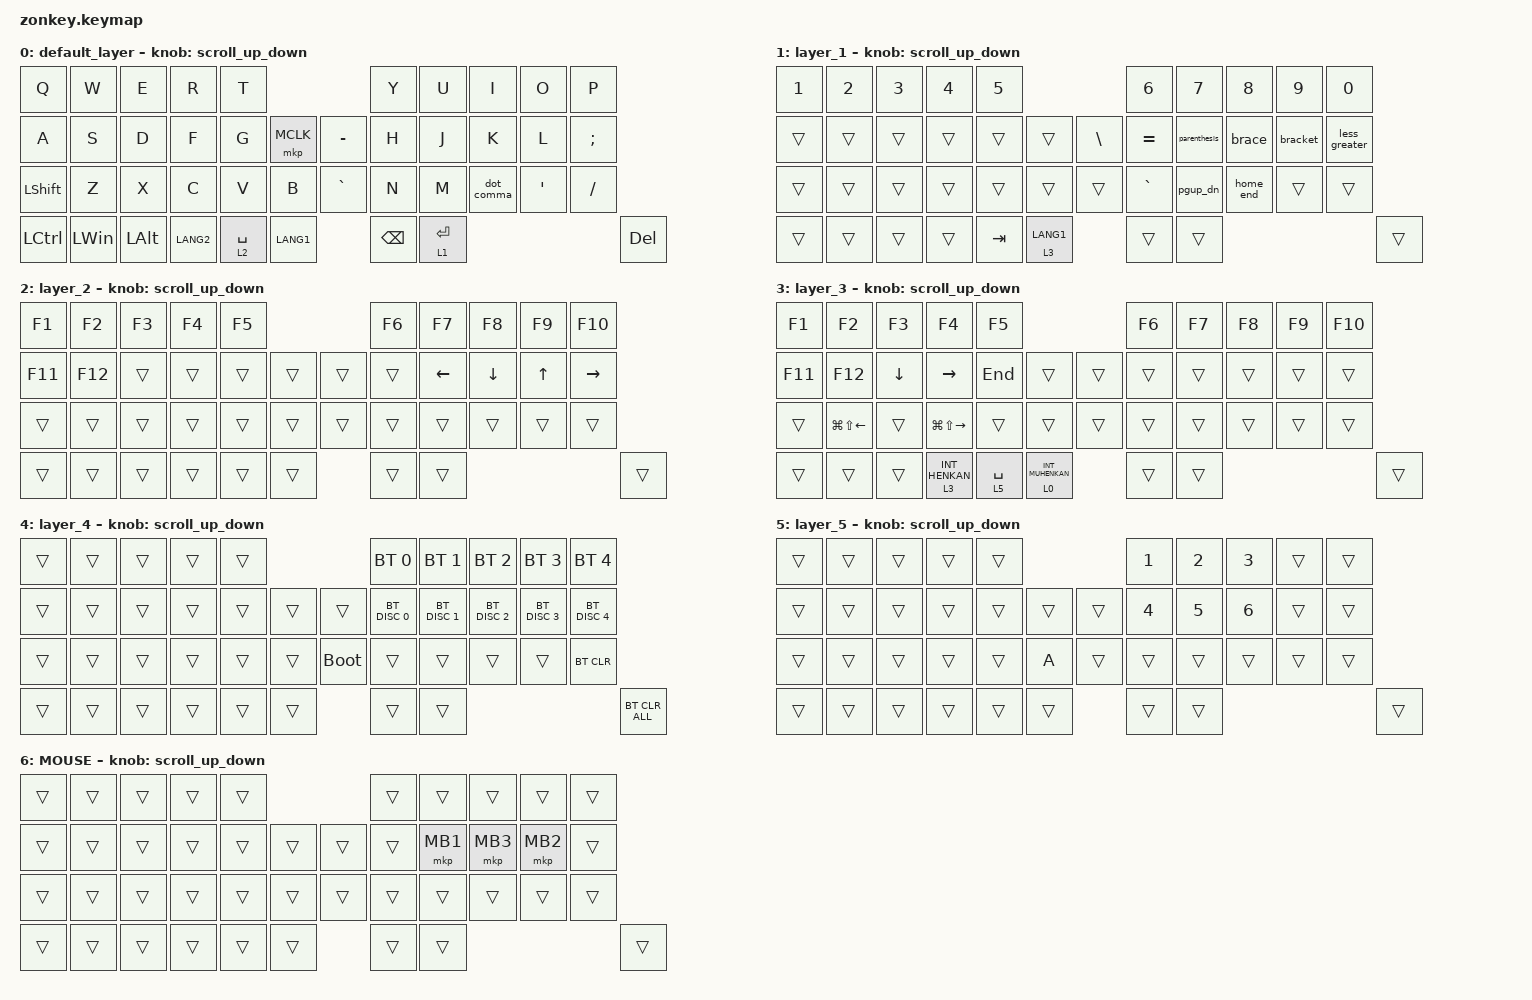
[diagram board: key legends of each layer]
#include <physical_layouts.dtsi>
#include <behaviors.dtsi>
#include <dt-bindings/zmk/bt.h>
#include <dt-bindings/zmk/keys.h>
#include <dt-bindings/zmk/pointing.h>

#define ZMK_POINTING_DEFAULT_SCRL_VAL 100
#define DFb 0
#define JIS 1
#define BT 4
#define MOUSE 5
#define JP_DQUOTE       AT                // "
#define JP_AMPERSAND    CARET             // &
#define JP_QUOTE        AMPERSAND         // '
#define JP_EQUAL        UNDER             // =
#define JP_CARET        EQUAL             // ^
#define JP_YEN          0x89              // ¥
#define JP_PLUS         COLON             // +
#define JP_TILDE        PLUS              // ~
#define JP_PIPE         LS(0x89)          // |
#define JP_AT           LEFT_BRACKET      // @
#define JP_COLON        SINGLE_QUOTE      // :
#define JP_ASTERISK     DOUBLE_QUOTES     // *
#define JP_BACKQUOTE    LEFT_BRACE        // `
#define JP_UNDERSCORE   LS(0x87)          // _
#define JP_LBRACKET     RIGHT_BRACKET     // [
#define JP_RBRACKET     BACKSLASH         // ]
#define JP_LPAREN       ASTERISK          // (
#define JP_RPAREN       LEFT_PARENTHESIS  // )
#define JP_LBRACE       RIGHT_BRACE       // {
#define JP_RBRACE       PIPE              // }
#define JP_KANA         LANGUAGE_1        // かな
#define JP_EISU         LANGUAGE_2        // 英数
#define JP_HANZEN       GRAVE             // 半角/全角
#define JP_BSLH  INT1         // (backslash)

&mt {
    flavor = "balanced";
    quick-tap-ms = <0>;
};

/ {
    combos { compatible = "zmk,combos"; };

    macros {
        to_layer_0: to_layer_0 {
            compatible = "zmk,behavior-macro-one-param";
            #binding-cells = <1>;
            bindings = <&to 0 &macro_param_1to1 &kp MACRO_PLACEHOLDER>;
            label = "TO_LAYER_0";
        };
    };

    behaviors {
        lt_to_layer_0: lt_to_layer_0 {
            compatible = "zmk,behavior-hold-tap";
            label = "LAYER_TAP_TO_0";
            bindings = <&mo>, <&to_layer_0>;

            #binding-cells = <2>;
            tapping-term-ms = <200>;
        };

        mo2: mo2 {
            compatible = "zmk,behavior-mod-morph";
            #binding-cells = <0>;
            bindings = <&kp N2>, <&kp AT>;

            mods = <(MOD_LSFT|MOD_RSFT)>;
        };

        mo6: mo6 {
            compatible = "zmk,behavior-mod-morph";
            #binding-cells = <0>;
            bindings = <&kp N6>, <&kp CARET>;

            mods = <(MOD_LSFT|MOD_RSFT)>;
        };

        mo7: mo7 {
            compatible = "zmk,behavior-mod-morph";
            #binding-cells = <0>;
            bindings = <&kp N7>, <&kp AMPS>;

            mods = <(MOD_LSFT|MOD_RSFT)>;
        };

        mo8: mo8 {
            compatible = "zmk,behavior-mod-morph";
            #binding-cells = <0>;
            bindings = <&kp N8>, <&kp ASTRK>;

            mods = <(MOD_LSFT|MOD_RSFT)>;
        };

        mo9: mo9 {
            compatible = "zmk,behavior-mod-morph";
            #binding-cells = <0>;
            bindings = <&kp N9>, <&kp LPAR>;

            mods = <(MOD_LSFT|MOD_RSFT)>;
        };

        mo0: mo0 {
            compatible = "zmk,behavior-mod-morph";
            #binding-cells = <0>;
            bindings = <&kp N0>, <&kp LS(N9)>;

            mods = <(MOD_LSFT|MOD_RSFT)>;
        };

        moA: moA {
            compatible = "zmk,behavior-mod-morph";
            #binding-cells = <0>;
            bindings = <&kp MINUS>, <&kp UNDERSCORE>;

            mods = <(MOD_LSFT|MOD_RSFT)>;
        };

        moB: moB {
            compatible = "zmk,behavior-mod-morph";
            #binding-cells = <0>;
            bindings = <&kp EQUAL>, <&kp PLUS>;

            mods = <(MOD_LSFT|MOD_RSFT)>;
        };

        moC: moC {
            compatible = "zmk,behavior-mod-morph";
            #binding-cells = <0>;
            bindings = <&kp INT3>, <&kp JP_PIPE>;

            mods = <(MOD_LSFT|MOD_RSFT)>;
        };

        moD: moD {
            compatible = "zmk,behavior-mod-morph";
            #binding-cells = <0>;
            bindings = <&kp LBKT>, <&kp LBRC>;

            mods = <(MOD_LSFT|MOD_RSFT)>;
        };

        moE: moE {
            compatible = "zmk,behavior-mod-morph";
            #binding-cells = <0>;
            bindings = <&kp RBKT>, <&kp RBRC>;

            mods = <(MOD_LSFT|MOD_RSFT)>;
        };

        moF: moF {
            compatible = "zmk,behavior-mod-morph";
            #binding-cells = <0>;
            bindings = <&kp SEMI>, <&kp KP_PLUS>;

            mods = <(MOD_LSFT|MOD_RSFT)>;
        };

        moG: moG {
            compatible = "zmk,behavior-mod-morph";
            #binding-cells = <0>;
            bindings = <&kp APOSTROPHE>, <&kp DQT>;

            mods = <(MOD_LSFT|MOD_RSFT)>;
        };

        moH: moH {
            compatible = "zmk,behavior-mod-morph";
            #binding-cells = <0>;
            bindings = <&kp BACKSLASH>, <&kp TILDE2>;

            mods = <(MOD_LSFT|MOD_RSFT)>;
        };

        moI: moI {
            compatible = "zmk,behavior-mod-morph";
            #binding-cells = <0>;
            bindings = <&kp JP_BSLH>, <&kp JP_UNDERSCORE>;

            mods = <(MOD_LSFT|MOD_RSFT)>;
        };

        scroll_up_down: behavior_sensor_rotate_mouse_wheel_up_down {
            compatible = "zmk,behavior-sensor-rotate";
            #sensor-binding-cells = <0>;
            bindings = <&msc SCRL_UP>, <&msc SCRL_DOWN>;

            tap-ms = <20>;
        };

        parenthesis: parenthesis {
            compatible = "zmk,behavior-mod-morph";
            label = "PARENTHESIS";
            bindings = <&kp LEFT_PARENTHESIS>, <&kp RIGHT_PARENTHESIS>;

            #binding-cells = <0>;
            mods = <(MOD_LSFT|MOD_RSFT)>;
        };

        brace: brace {
            compatible = "zmk,behavior-mod-morph";
            label = "BRACE";
            bindings = <&kp LEFT_BRACE>, <&kp RIGHT_BRACE>;

            #binding-cells = <0>;
            mods = <(MOD_LSFT|MOD_RSFT)>;
        };

        bracket: bracket {
            compatible = "zmk,behavior-mod-morph";
            label = "BRACKET";
            bindings = <&kp LEFT_BRACKET>, <&kp RIGHT_BRACKET>;

            #binding-cells = <0>;
            mods = <(MOD_LSFT|MOD_RSFT)>;
        };

        less_greater: less_greater {
            compatible = "zmk,behavior-mod-morph";
            label = "LESS_GREATER";
            bindings = <&kp LESS_THAN>, <&kp GREATER_THAN>;

            #binding-cells = <0>;
            mods = <(MOD_LSFT|MOD_RSFT)>;
        };

        pgup_dn: pgup_dn {
            compatible = "zmk,behavior-mod-morph";
            label = "PGUP_DN";
            bindings = <&kp PG_UP>, <&kp PG_DN>;

            #binding-cells = <0>;
            mods = <(MOD_LSFT|MOD_RSFT)>;
        };

        home_end: home_end {
            compatible = "zmk,behavior-mod-morph";
            label = "HOME_END";
            bindings = <&kp HOME>, <&kp END>;

            #binding-cells = <0>;
            mods = <(MOD_LSFT|MOD_RSFT)>;
        };

        dot_comma: dot_comma {
            compatible = "zmk,behavior-mod-morph";
            label = "DOT_COMMA";
            bindings = <&kp DOT>, <&kp COMMA>;

            #binding-cells = <0>;
            mods = <(MOD_LSFT|MOD_RSFT)>;
        };
    };

    keymap {
        compatible = "zmk,keymap";

        default_layer {
            bindings = <
&kp Q           &kp W         &kp E         &kp R      &kp T                                &kp Y          &kp U        &kp I       &kp O     &kp P
&kp A           &kp S         &kp D         &kp F      &kp G        &mkp MCLK    &kp MINUS  &kp H          &kp J        &kp K       &kp L     &kp SEMICOLON
&kp LEFT_SHIFT  &kp Z         &kp X         &kp C      &kp V        &kp B        &kp GRAVE  &kp N          &kp M        &dot_comma  &kp APOS  &kp SLASH
&kp LCTRL       &kp LEFT_WIN  &kp LEFT_ALT  &kp LANG2  &lt 2 SPACE  &kp LANG1               &kp BACKSPACE  &lt 1 ENTER                                       &kp DEL
            >;

            sensor-bindings = <&scroll_up_down>;
        };

        layer_1 {
            bindings = <
&kp N1  &kp N2  &kp N3  &kp N4  &kp N5                                 &kp N6     &kp N7        &kp N8     &kp N9    &kp N0
&trans  &trans  &trans  &trans  &trans   &trans         &kp BACKSLASH  &kp EQUAL  &parenthesis  &brace     &bracket  &less_greater
&trans  &trans  &trans  &trans  &trans   &trans         &trans         &kp GRAVE  &pgup_dn      &home_end  &trans    &trans
&trans  &trans  &trans  &trans  &kp TAB  &lt 3 LANG1                   &trans     &trans                                            &trans
            >;

            sensor-bindings = <&scroll_up_down>;
        };

        layer_2 {
            bindings = <
&kp F1   &kp F2   &kp F3  &kp F4  &kp F5                    &kp F6  &kp F7    &kp F8    &kp F9  &kp F10
&kp F11  &kp F12  &trans  &trans  &trans  &trans    &trans  &trans  &kp LEFT  &kp DOWN  &kp UP  &kp RIGHT
&trans   &trans   &trans  &trans  &trans  &trans    &trans  &trans  &trans    &trans    &trans  &trans
&trans   &trans   &trans  &trans  &trans  &trans            &trans  &trans                                 &trans
            >;

            sensor-bindings = <&scroll_up_down>;
        };

        layer_3 {
            bindings = <
&kp F1   &kp F2                  &kp F3          &kp F4                   &kp F5                                     &kp F6  &kp F7  &kp F8  &kp F9  &kp F10
&kp F11  &kp F12                 &kp DOWN_ARROW  &kp RIGHT_ARROW          &kp END      &trans                &trans  &trans  &trans  &trans  &trans  &trans
&trans   &kp LG(LS(LEFT_ARROW))  &trans          &kp LG(LS(RIGHT_ARROW))  &trans       &trans                &trans  &trans  &trans  &trans  &trans  &trans
&trans   &trans                  &trans          &lt 3 INT_HENKAN         &lt 5 SPACE  &lt 0 INT_MUHENKAN            &trans  &trans                           &trans
            >;

            sensor-bindings = <&scroll_up_down>;
        };

        layer_4 {
            bindings = <
&trans  &trans  &trans  &trans  &trans                         &bt BT_SEL 0   &bt BT_SEL 1   &bt BT_SEL 2   &bt BT_SEL 3   &bt BT_SEL 4
&trans  &trans  &trans  &trans  &trans  &trans    &trans       &bt BT_DISC 0  &bt BT_DISC 1  &bt BT_DISC 2  &bt BT_DISC 3  &bt BT_DISC 4
&trans  &trans  &trans  &trans  &trans  &trans    &bootloader  &trans         &trans         &trans         &trans         &bt BT_CLR
&trans  &trans  &trans  &trans  &trans  &trans                 &trans         &trans                                                      &bt BT_CLR_ALL
            >;

            sensor-bindings = <&scroll_up_down>;
        };

        layer_5 {
            bindings = <
&trans  &trans  &trans  &trans  &trans                    &kp N1  &kp N2  &kp N3  &trans  &trans
&trans  &trans  &trans  &trans  &trans  &trans    &trans  &kp N4  &kp N5  &kp N6  &trans  &trans
&trans  &trans  &trans  &trans  &trans  &kp A     &trans  &trans  &trans  &trans  &trans  &trans
&trans  &trans  &trans  &trans  &trans  &trans            &trans  &trans                          &trans
            >;

            sensor-bindings = <&scroll_up_down>;
        };

        MOUSE {
            bindings = <
&trans  &trans  &trans  &trans  &trans                    &trans  &trans    &trans    &trans    &trans
&trans  &trans  &trans  &trans  &trans  &trans    &trans  &trans  &mkp MB1  &mkp MB3  &mkp MB2  &trans
&trans  &trans  &trans  &trans  &trans  &trans    &trans  &trans  &trans    &trans    &trans    &trans
&trans  &trans  &trans  &trans  &trans  &trans            &trans  &trans                                &trans
            >;

            sensor-bindings = <&scroll_up_down>;
        };
    };
};
